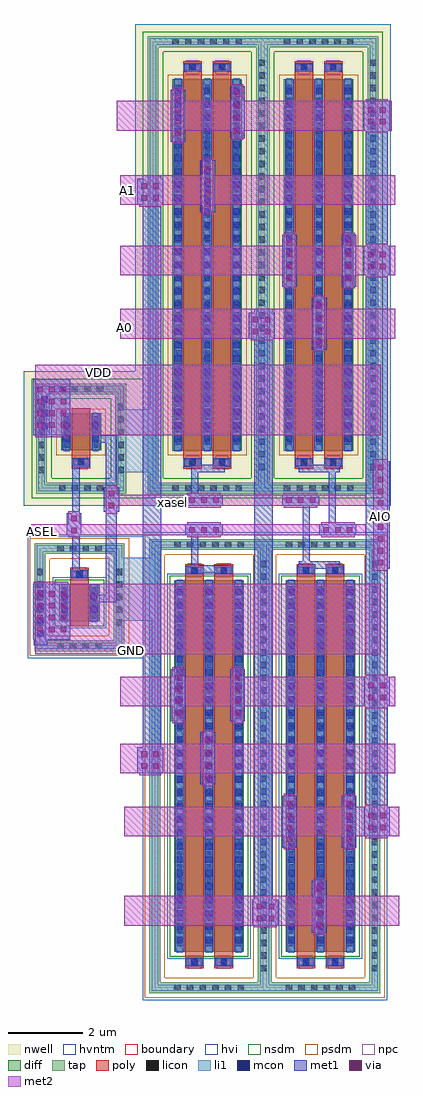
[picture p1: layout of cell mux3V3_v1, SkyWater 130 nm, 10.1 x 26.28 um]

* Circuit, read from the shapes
.subckt mux3V3_v1 A0 A1 AIO ASEL GND VDD xasel
XM1 xasel ASEL GND GND sky130_fd_pr__nfet_g5v0d10v5 w=1 l=0.5
XM2 A1 ASEL AIO GND sky130_fd_pr__nfet_g5v0d10v5 w=10 l=0.5 m=2
XM3 A0 xasel AIO GND sky130_fd_pr__nfet_g5v0d10v5 w=10 l=0.5 m=2
XM4 xasel ASEL VDD VDD sky130_fd_pr__pfet_g5v0d10v5 w=1 l=0.5
XM5 A1 xasel AIO VDD sky130_fd_pr__pfet_g5v0d10v5 w=10 l=0.5 m=2
XM6 A0 ASEL AIO VDD sky130_fd_pr__pfet_g5v0d10v5 w=10 l=0.5 m=2
.ends

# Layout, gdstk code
import gdstk
lib = gdstk.Library(unit=1e-6, precision=1e-09)
def R(c, l, rs):  # rectangles x0, y0, x1, y1
    for r in rs: c.add(gdstk.rectangle(r[:2], r[2:], *l))
def A(c, l, x, y, w, h, nx, ny, dx, dy):  # array of equal rectangles
    R(c, l, [(x+i*dx, y+j*dy, x+i*dx+w, y+j*dy+h) for i in range(nx) for j in range(ny)])
nwell = (64, 20)
diff = (65, 20)
tap = (65, 44)
poly = (66, 20)
licon = (66, 44)
li1 = (67, 20)
mcon = (67, 44)
met1 = (68, 20)
via = (68, 44)
met2 = (69, 20)
hvi = (75, 20)
nsdm = (93, 44)
psdm = (94, 20)
npc = (95, 20)
hvntm = (125, 20)
boundary = (235, 4)

sky130_fd_pr__pfet_g5v0d = lib.new_cell('sky130_fd_pr__pfet_g5v0d10v5_U6NWY6')
R(sky130_fd_pr__pfet_g5v0d, nwell, [(-1.54,-1.81,1.54,1.81)])
R(sky130_fd_pr__pfet_g5v0d, diff, [(-0.54,-0.32,0.54,0.68)])
R(sky130_fd_pr__pfet_g5v0d, tap, [(-1.21,-1.48,1.21,-1.19), (-1.21,-1.19,-0.92,1.19), (0.92,-1.19,1.21,1.19), (-1.21,1.19,1.21,1.48)])
R(sky130_fd_pr__pfet_g5v0d, poly, [(-0.25,-0.805,0.25,0.81)])
A(sky130_fd_pr__pfet_g5v0d, licon, -0.595, -1.42, 0.17, 0.17, 4, 2, 0.34, 2.67)
A(sky130_fd_pr__pfet_g5v0d, licon, -1.15, -0.935, 0.17, 0.17, 1, 6, 0, 0.34)
A(sky130_fd_pr__pfet_g5v0d, licon, 0.98, -0.935, 0.17, 0.17, 1, 6, 0, 0.34)
A(sky130_fd_pr__pfet_g5v0d, licon, -0.48, -0.245, 0.17, 0.17, 1, 3, 0, 0.34)
A(sky130_fd_pr__pfet_g5v0d, licon, 0.31, -0.245, 0.17, 0.17, 1, 3, 0, 0.34)
R(sky130_fd_pr__pfet_g5v0d, licon, [(-0.085,-0.725,0.085,-0.555)])
R(sky130_fd_pr__pfet_g5v0d, li1, [(-1.15,-1.42,1.15,-1.25), (-1.15,-1.25,-0.98,1.25), (0.98,-1.25,1.15,1.25), (-0.25,-0.725,0.25,-0.555), (-0.48,-0.34,-0.31,0.7), (0.31,-0.34,0.48,0.7), (-1.15,1.25,1.15,1.42)])
R(sky130_fd_pr__pfet_g5v0d, mcon, [(-0.085,-0.725,0.085,-0.555), (-0.48,-0.085,-0.31,0.085), (0.31,-0.085,0.48,0.085), (-0.48,0.275,-0.31,0.445), (0.31,0.275,0.48,0.445)])
R(sky130_fd_pr__pfet_g5v0d, met1, [(-0.23,-0.755,0.23,-0.525), (-0.51,-0.32,-0.28,0.68), (0.28,-0.32,0.51,0.68)])
R(sky130_fd_pr__pfet_g5v0d, hvi, [(-1.54,-1.81,1.54,1.81)])
R(sky130_fd_pr__pfet_g5v0d, nsdm, [(-1.335,-1.605,1.335,-1.065), (-1.335,-1.065,-0.795,1.065), (0.795,-1.065,1.335,1.065), (-1.335,1.065,1.335,1.605)])
R(sky130_fd_pr__pfet_g5v0d, psdm, [(-0.665,-0.445,0.665,0.805)])
R(sky130_fd_pr__pfet_g5v0d, npc, [(-0.185,-0.825,0.185,-0.455)])
R(sky130_fd_pr__pfet_g5v0d, boundary, [(-1.065,-1.335,1.065,1.335)])

sky130_fd_pr__nfet_g5v0d = lib.new_cell('sky130_fd_pr__nfet_g5v0d10v5_N5U4UN')
R(sky130_fd_pr__nfet_g5v0d, diff, [(-0.54,-0.655,0.54,0.345)])
R(sky130_fd_pr__nfet_g5v0d, tap, [(-1.21,-1.455,1.21,-1.165), (-1.21,-1.165,-0.92,1.165), (0.92,-1.165,1.21,1.165), (-1.21,1.165,1.21,1.455)])
R(sky130_fd_pr__nfet_g5v0d, poly, [(-0.25,-0.785,0.25,0.785)])
A(sky130_fd_pr__nfet_g5v0d, licon, -0.595, -1.395, 0.17, 0.17, 4, 2, 0.34, 2.62)
A(sky130_fd_pr__nfet_g5v0d, licon, -1.15, -0.765, 0.17, 0.17, 1, 5, 0, 0.34)
A(sky130_fd_pr__nfet_g5v0d, licon, 0.98, -0.765, 0.17, 0.17, 1, 5, 0, 0.34)
A(sky130_fd_pr__nfet_g5v0d, licon, -0.48, -0.58, 0.17, 0.17, 1, 3, 0, 0.34)
A(sky130_fd_pr__nfet_g5v0d, licon, 0.31, -0.58, 0.17, 0.17, 1, 3, 0, 0.34)
R(sky130_fd_pr__nfet_g5v0d, licon, [(-0.085,0.535,0.085,0.705)])
R(sky130_fd_pr__nfet_g5v0d, li1, [(-1.15,-1.395,1.15,-1.225), (-1.15,-1.225,-0.98,1.225), (0.98,-1.225,1.15,1.225), (-0.48,-0.675,-0.31,0.365), (0.31,-0.675,0.48,0.365), (-0.25,0.535,0.25,0.705), (-1.15,1.225,1.15,1.395)])
R(sky130_fd_pr__nfet_g5v0d, mcon, [(-0.48,-0.42,-0.31,-0.25), (0.31,-0.42,0.48,-0.25), (-0.48,-0.06,-0.31,0.11), (0.31,-0.06,0.48,0.11), (-0.085,0.535,0.085,0.705)])
R(sky130_fd_pr__nfet_g5v0d, met1, [(-0.51,-0.655,-0.28,0.345), (0.28,-0.655,0.51,0.345), (-0.23,0.505,0.23,0.735)])
R(sky130_fd_pr__nfet_g5v0d, hvi, [(-1.395,-1.64,1.395,1.64)])
R(sky130_fd_pr__nfet_g5v0d, nsdm, [(-0.665,-0.78,0.665,0.47)])
R(sky130_fd_pr__nfet_g5v0d, psdm, [(-1.335,-1.58,1.335,-1.04), (-1.335,-1.04,-0.795,1.04), (0.795,-1.04,1.335,1.04), (-1.335,1.04,1.335,1.58)])
R(sky130_fd_pr__nfet_g5v0d, npc, [(-0.185,0.435,0.185,0.805)])
R(sky130_fd_pr__nfet_g5v0d, hvntm, [(-0.725,-0.84,0.725,0.53)])
R(sky130_fd_pr__nfet_g5v0d, boundary, [(-1.065,-1.31,1.065,1.31)])

c_sky130_fd_pr__pfet_g5v0d = lib.new_cell('sky130_fd_pr__pfet_g5v0d10v5_KL6LZ5')
R(c_sky130_fd_pr__pfet_g5v0d, nwell, [(-1.935,-6.485,1.935,6.485)])
R(c_sky130_fd_pr__pfet_g5v0d, diff, [(-0.935,-5,0.935,5)])
R(c_sky130_fd_pr__pfet_g5v0d, tap, [(-1.605,-6.155,1.605,-5.865), (-1.605,-5.865,-1.315,5.865), (1.315,-5.865,1.605,5.865), (-1.605,5.865,1.605,6.155)])
R(c_sky130_fd_pr__pfet_g5v0d, poly, [(-0.645,-5.485,-0.145,5.485), (0.145,-5.485,0.645,5.485)])
A(c_sky130_fd_pr__pfet_g5v0d, licon, -0.935, -6.095, 0.17, 0.17, 6, 2, 0.34, 12.02)
A(c_sky130_fd_pr__pfet_g5v0d, licon, 1.375, -5.525, 0.17, 0.17, 1, 33, 0, 0.34)
A(c_sky130_fd_pr__pfet_g5v0d, licon, -0.875, -4.845, 0.17, 0.17, 3, 29, 0.79, 0.34)
R(c_sky130_fd_pr__pfet_g5v0d, licon, [(-0.48,-5.405,-0.31,-5.235), (0.31,-5.405,0.48,-5.235), (-0.48,5.235,-0.31,5.405), (0.31,5.235,0.48,5.405)])
A(c_sky130_fd_pr__pfet_g5v0d, li1, -0.875, -5.02, 0.17, 10.04, 3, 1, 0.79, 0)
R(c_sky130_fd_pr__pfet_g5v0d, li1, [(-1.545,-6.095,1.545,-5.925), (-1.545,-5.925,-1.375,5.925), (1.375,-5.925,1.545,5.925), (-0.645,-5.405,-0.145,-5.235), (0.145,-5.405,0.645,-5.235), (-0.645,5.235,-0.145,5.405), (0.145,5.235,0.645,5.405), (-1.545,5.925,1.545,6.095)])
A(c_sky130_fd_pr__pfet_g5v0d, mcon, -0.875, -4.765, 0.17, 0.17, 3, 27, 0.79, 0.36)
R(c_sky130_fd_pr__pfet_g5v0d, mcon, [(-0.48,-5.405,-0.31,-5.235), (0.31,-5.405,0.48,-5.235), (-0.48,5.235,-0.31,5.405), (0.31,5.235,0.48,5.405)])
A(c_sky130_fd_pr__pfet_g5v0d, met1, -0.905, -5, 0.23, 10, 3, 1, 0.79, 0)
R(c_sky130_fd_pr__pfet_g5v0d, met1, [(-0.625,-5.435,-0.165,-5.205), (0.165,-5.435,0.625,-5.205), (-0.625,5.205,-0.165,5.435), (0.165,5.205,0.625,5.435)])
R(c_sky130_fd_pr__pfet_g5v0d, hvi, [(-1.935,-6.485,1.935,6.485)])
R(c_sky130_fd_pr__pfet_g5v0d, nsdm, [(-1.73,-6.28,1.73,-5.74), (-1.73,-5.74,-1.19,5.74), (1.19,-5.74,1.73,5.74), (-1.73,5.74,1.73,6.28)])
R(c_sky130_fd_pr__pfet_g5v0d, psdm, [(-1.06,-5.125,1.06,5.125)])
R(c_sky130_fd_pr__pfet_g5v0d, npc, [(-0.58,-5.505,-0.21,-5.135), (0.21,-5.505,0.58,-5.135), (-0.58,5.135,-0.21,5.505), (0.21,5.135,0.58,5.505)])
R(c_sky130_fd_pr__pfet_g5v0d, boundary, [(-1.46,-6.01,1.46,6.01)])

c_sky130_fd_pr__nfet_g5v0d = lib.new_cell('sky130_fd_pr__nfet_g5v0d10v5_BPEQ28')
R(c_sky130_fd_pr__nfet_g5v0d, diff, [(-0.935,-5,0.935,5)])
R(c_sky130_fd_pr__nfet_g5v0d, tap, [(-1.605,-6.11,1.605,-5.82), (-1.605,-5.82,-1.315,5.82), (1.315,-5.82,1.605,5.82), (-1.605,5.82,1.605,6.11)])
R(c_sky130_fd_pr__nfet_g5v0d, poly, [(-0.645,-5.44,-0.145,5.44), (0.145,-5.44,0.645,5.44)])
A(c_sky130_fd_pr__nfet_g5v0d, licon, -0.935, -6.05, 0.17, 0.17, 6, 2, 0.34, 11.93)
A(c_sky130_fd_pr__nfet_g5v0d, licon, 1.375, -5.525, 0.17, 0.17, 1, 33, 0, 0.34)
A(c_sky130_fd_pr__nfet_g5v0d, licon, -0.875, -4.845, 0.17, 0.17, 3, 29, 0.79, 0.34)
R(c_sky130_fd_pr__nfet_g5v0d, licon, [(-0.48,-5.36,-0.31,-5.19), (0.31,-5.36,0.48,-5.19), (-0.48,5.19,-0.31,5.36), (0.31,5.19,0.48,5.36)])
A(c_sky130_fd_pr__nfet_g5v0d, li1, -0.875, -5.02, 0.17, 10.04, 3, 1, 0.79, 0)
R(c_sky130_fd_pr__nfet_g5v0d, li1, [(-1.545,-6.05,1.545,-5.88), (-1.545,-5.88,-1.375,5.88), (1.375,-5.88,1.545,5.88), (-0.645,-5.36,-0.145,-5.19), (0.145,-5.36,0.645,-5.19), (-0.645,5.19,-0.145,5.36), (0.145,5.19,0.645,5.36), (-1.545,5.88,1.545,6.05)])
A(c_sky130_fd_pr__nfet_g5v0d, mcon, -0.875, -4.765, 0.17, 0.17, 3, 27, 0.79, 0.36)
R(c_sky130_fd_pr__nfet_g5v0d, mcon, [(-0.48,-5.36,-0.31,-5.19), (0.31,-5.36,0.48,-5.19), (-0.48,5.19,-0.31,5.36), (0.31,5.19,0.48,5.36)])
A(c_sky130_fd_pr__nfet_g5v0d, met1, -0.905, -5, 0.23, 10, 3, 1, 0.79, 0)
R(c_sky130_fd_pr__nfet_g5v0d, met1, [(-0.625,-5.39,-0.165,-5.16), (0.165,-5.39,0.625,-5.16), (-0.625,5.16,-0.165,5.39), (0.165,5.16,0.625,5.39)])
R(c_sky130_fd_pr__nfet_g5v0d, hvi, [(-1.79,-6.295,1.79,6.295)])
R(c_sky130_fd_pr__nfet_g5v0d, nsdm, [(-1.06,-5.125,1.06,5.125)])
R(c_sky130_fd_pr__nfet_g5v0d, psdm, [(-1.73,-6.235,1.73,-5.695), (-1.73,-5.695,-1.19,5.695), (1.19,-5.695,1.73,5.695), (-1.73,5.695,1.73,6.235)])
R(c_sky130_fd_pr__nfet_g5v0d, npc, [(-0.58,-5.46,-0.21,-5.09), (0.21,-5.46,0.58,-5.09), (-0.58,5.09,-0.21,5.46), (0.21,5.09,0.58,5.46)])
R(c_sky130_fd_pr__nfet_g5v0d, hvntm, [(-1.12,-5.185,1.12,5.185)])
R(c_sky130_fd_pr__nfet_g5v0d, boundary, [(-1.46,-5.965,1.46,5.965)])

mux3v3_v1 = lib.new_cell('mux3V3_v1')
R(mux3v3_v1, li1, [(-3.2,21.4,-2.9,23), (-0.9,22,0,23.7), (-0.9,26,0,27.7), (-3.1,27,-2.8,28.2)])
A(mux3v3_v1, mcon, -3.135, 21.575, 0.17, 0.17, 1, 4, 0, 0.36)
A(mux3v3_v1, mcon, -3.035, 27.155, 0.17, 0.17, 1, 3, 0, 0.36)
R(mux3v3_v1, met1, [(4.25,13.6,4.65,15), (2.65,13.8,3.35,14.5), (2.7,14.5,3.2,29.6), (3.45,15.9,3.85,17.3), (5.05,15.9,5.45,17.3), (5.65,16.2,6.35,17), (5.7,17,6.3,19.7), (1.25,17.6,1.65,19), (-0.45,17.9,0.25,18.6), (-0.3,18.6,0.2,33.2), (0.45,19.3,0.85,20.7), (2.05,19.3,2.45,20.7), (5.65,19.7,6.35,20.5), (5.7,20.5,6.3,23.4), (-3.23,21.34,-2.87,21.5), (-3.25,21.5,-2.25,23), (-1.6,22.5,-1,22.7), (-1.3,22.7,-1,24.94), (-3.23,23,-2.87,23.06), (-2.2,23.3,-2,24.3), (1,23.3,2,23.5), (3.9,23.4,5,23.6), (5.7,23.4,6.35,26.3), (1,23.5,1.2,24.3), (4,23.6,4.2,25.1), (-2.35,24.3,-1.95,24.9), (0.85,24.3,1.85,24.6), (4.45,24.3,5.45,24.6), (4.7,24.6,4.9,26), (-2.2,24.9,-2,26.2), (-1.35,24.94,-0.94,25.6), (0.85,25.1,1.85,25.4), (3.45,25.1,4.45,25.4), (1,25.4,1.2,26), (-1.3,25.6,-1,26.8), (1,26,1.9,26.2), (3.9,26,5,26.2), (5.7,26.3,6.3,31.3), (-1.6,26.8,-1,27), (-3.13,26.94,-2.77,27), (-3.25,27,-2.25,28.5), (4.25,29.3,4.65,30.7), (2.55,29.6,3.25,30.3), (2.7,30.3,3.2,30.4), (3.45,31,3.85,32.4), (5.05,31,5.45,32.4), (5.65,31.3,6.35,32.1), (5.7,32.1,6.3,35.2), (1.25,33,1.65,34.4), (-0.45,33.2,0.25,33.9), (-0.3,33.9,0.2,34), (0.45,34.9,0.85,36.3), (2.05,35,2.45,36.4), (5.65,35.2,6.35,36)])
A(mux3v3_v1, via, 4.375, 13.745, 0.15, 0.15, 1, 4, 0, 0.32)
A(mux3v3_v1, via, 3.575, 16.045, 0.15, 0.15, 1, 4, 0, 0.32)
A(mux3v3_v1, via, 5.175, 16.045, 0.15, 0.15, 1, 4, 0, 0.32)
A(mux3v3_v1, via, 1.375, 17.745, 0.15, 0.15, 1, 4, 0, 0.32)
A(mux3v3_v1, via, 0.575, 19.445, 0.15, 0.15, 1, 4, 0, 0.32)
A(mux3v3_v1, via, 2.175, 19.445, 0.15, 0.15, 1, 4, 0, 0.32)
A(mux3v3_v1, via, -3.145, 21.695, 0.15, 0.15, 3, 4, 0.32, 0.32)
A(mux3v3_v1, via, 6.025, 23.495, 0.15, 0.15, 1, 9, 0, 0.32)
A(mux3v3_v1, via, 0.955, 24.375, 0.15, 0.15, 3, 2, 0.32, 0.8)
A(mux3v3_v1, via, 4.555, 24.375, 0.15, 0.15, 3, 1, 0.32, 0)
A(mux3v3_v1, via, 3.555, 25.175, 0.15, 0.15, 3, 1, 0.32, 0)
A(mux3v3_v1, via, -3.145, 27.195, 0.15, 0.15, 3, 4, 0.32, 0.32)
A(mux3v3_v1, via, 4.375, 29.445, 0.15, 0.15, 1, 4, 0, 0.32)
A(mux3v3_v1, via, 3.575, 31.145, 0.15, 0.15, 1, 4, 0, 0.32)
A(mux3v3_v1, via, 5.175, 31.145, 0.15, 0.15, 1, 4, 0, 0.32)
A(mux3v3_v1, via, 1.375, 33.145, 0.15, 0.15, 1, 4, 0, 0.32)
A(mux3v3_v1, via, 0.575, 35.045, 0.15, 0.15, 1, 4, 0, 0.32)
A(mux3v3_v1, via, 2.175, 35.145, 0.15, 0.15, 1, 4, 0, 0.32)
R(mux3v3_v1, via, [(2.765,13.915,2.915,14.065), (3.085,13.915,3.235,14.065), (2.765,14.235,2.915,14.385), (3.085,14.235,3.235,14.385), (5.765,16.365,5.915,16.515), (6.085,16.365,6.235,16.515), (5.765,16.685,5.915,16.835), (6.085,16.685,6.235,16.835), (-0.335,18.015,-0.185,18.165), (-0.015,18.015,0.135,18.165), (-0.335,18.335,-0.185,18.485), (-0.015,18.335,0.135,18.485), (5.765,19.865,5.915,20.015), (6.085,19.865,6.235,20.015), (5.765,20.185,5.915,20.335), (6.085,20.185,6.235,20.335), (-2.225,24.365,-2.075,24.515), (-2.225,24.685,-2.075,24.835), (-1.22,25.035,-1.07,25.185), (-1.22,25.355,-1.07,25.505), (2.665,29.715,2.815,29.865), (2.985,29.715,3.135,29.865), (2.665,30.035,2.815,30.185), (2.985,30.035,3.135,30.185), (5.765,31.465,5.915,31.615), (6.085,31.465,6.235,31.615), (5.765,31.785,5.915,31.935), (6.085,31.785,6.235,31.935), (-0.335,33.315,-0.185,33.465), (-0.015,33.315,0.135,33.465), (-0.335,33.635,-0.185,33.785), (-0.015,33.635,0.135,33.785), (5.765,35.365,5.915,35.515), (6.085,35.365,6.235,35.515), (5.765,35.685,5.915,35.835), (6.085,35.685,6.235,35.835)])
R(mux3v3_v1, met2, [(4.3,13.55,4.6,13.8), (2.7,13.75,3.3,13.8), (-0.8,13.8,6.6,14.6), (4.3,14.6,4.6,15.05), (3.5,15.85,3.8,16.2), (5.1,15.85,5.4,16.2), (5.7,16.15,6.3,16.2), (-0.8,16.2,6.6,17), (3.5,17,3.8,17.35), (5.1,17,5.4,17.35), (5.7,17,6.3,17.05), (1.3,17.55,1.6,17.9), (-0.4,17.85,0.2,17.9), (-0.9,17.9,6.5,18.7), (1.3,18.7,1.6,19.05), (0.5,19.25,0.8,19.7), (2.1,19.25,2.4,19.7), (5.7,19.65,6.3,19.7), (-0.9,19.7,6.5,20.5), (0.5,20.5,0.8,20.75), (2.1,20.5,2.4,20.75), (5.7,20.5,6.3,20.55), (-3.2,21.1,6.1,23), (-3.2,23,-2.3,23.05), (5.9,23.35,6.3,26.35), (-2.3,24.25,-2,24.3), (0.9,24.25,1.8,24.3), (4.5,24.25,5.4,24.3), (-3.3,24.3,5.7,24.6), (-2.3,24.6,-2,24.95), (0.9,24.6,1.8,24.65), (4.5,24.6,5.4,24.65), (-1.3,24.89,-0.99,25.1), (0.9,25.05,1.8,25.1), (3.5,25.05,4.4,25.1), (-1.3,25.1,5.7,25.4), (-1.3,25.4,-0.99,25.65), (0.9,25.4,1.8,25.45), (3.5,25.4,4.4,25.45), (-3.2,26.95,-2.3,27), (-3.2,27,6.1,28.9), (4.3,29.25,4.6,29.6), (2.6,29.55,3.2,29.6), (-0.9,29.6,6.5,30.4), (4.3,30.4,4.6,30.75), (3.5,30.95,3.8,31.3), (5.1,30.95,5.4,31.3), (5.7,31.25,6.3,31.3), (-0.9,31.3,6.5,32.1), (3.5,32.1,3.8,32.45), (5.1,32.1,5.4,32.45), (5.7,32.1,6.3,32.15), (1.3,32.95,1.6,33.2), (-0.4,33.15,0.2,33.2), (-0.9,33.2,6.5,34), (1.3,34,1.6,34.45), (0.5,34.85,0.8,35.2), (2.1,34.95,2.4,35.2), (5.7,35.15,6.3,35.2), (-1,35.2,6.4,36), (0.5,36,0.8,36.35), (2.1,36,2.4,36.45), (5.7,36,6.3,36.05)])
R(mux3v3_v1, hvi, [(-0.61,21,-0.305,24.28)])
R(mux3v3_v1, nsdm, [(-0.625,25.305,-0.295,28.515)])
mux3v3_v1.add(gdstk.Reference(sky130_fd_pr__pfet_g5v0d, (-1.96,26.91)))
mux3v3_v1.add(gdstk.Reference(sky130_fd_pr__nfet_g5v0d, (-2.005,22.64)))
mux3v3_v1.add(gdstk.Reference(c_sky130_fd_pr__pfet_g5v0d, (4.435,31.585)))
mux3v3_v1.add(gdstk.Reference(c_sky130_fd_pr__pfet_g5v0d, (1.435,31.585)))
mux3v3_v1.add(gdstk.Reference(c_sky130_fd_pr__nfet_g5v0d, (4.485,18.09)))
mux3v3_v1.add(gdstk.Reference(c_sky130_fd_pr__nfet_g5v0d, (1.485,18.09)))
mux3v3_v1.add(gdstk.Label('xasel', (0.5,25.2), layer=69, texttype=5))
mux3v3_v1.add(gdstk.Label('ASEL', (-3,24.4), layer=69, texttype=5))
mux3v3_v1.add(gdstk.Label('A0', (-0.8,29.9), layer=69, texttype=5))
mux3v3_v1.add(gdstk.Label('A1', (-0.7,33.6), layer=69, texttype=5))
mux3v3_v1.add(gdstk.Label('VDD', (-1.5,28.7), layer=69, texttype=5))
mux3v3_v1.add(gdstk.Label('GND', (-0.6,21.2), layer=69, texttype=5))
mux3v3_v1.add(gdstk.Label('AIO', (6.1,24.8), layer=69, texttype=5))

lib.write_gds('mux3V3_v1.gds')
